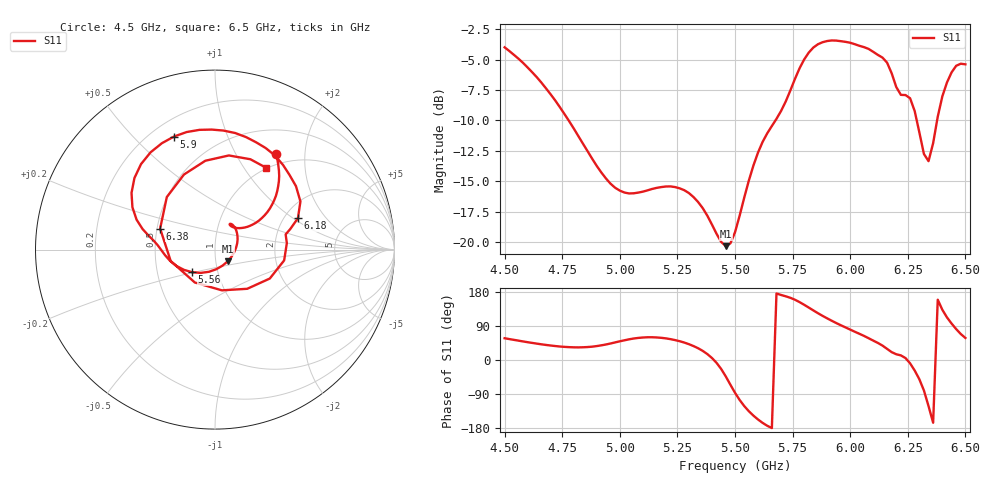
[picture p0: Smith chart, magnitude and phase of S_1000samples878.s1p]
! TOUCHSTONE file generated by CST MICROWAVE STUDIO
! Date and time: Sat Oct 29 16:28:16 2022
! Project name: L.cst
! Parameters = {Di=1.27; Epsilon_r=1.56; InnerDiameter=1.27; Length=2; Lf=10; Lg=60; OuterConductorThickness=0.2921; OuterDiameter=3.6; Wf=3; Wp=41.2; de=1.5; df=6.8; g=0.8; gx=1.37242; gy=2.17841; h=2.34; hf=1.524; px=12.784; py=11.0621; w=9.7; wx=11.4116; wy=8.88374}
! Header version: 2018
! Port assignment regex: !\s*Touchstone port\s*([0-9]+)\s*=\s*(CST MWS port|CST DS port)\s*([0-9]+|Zmin|Zmax)\s*\(\"(.*)\"\)(\s*mode\s*([0-9]+))?.*
! Touchstone port assignment:
! Touchstone port 1 = CST MWS port 1 ("")
# GHz S DB R 50
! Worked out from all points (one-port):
!   101 points, 4.5 GHz to 6.5 GHz, reference 50 ohm
!   lowest |S11| = -20.3 dB at 5.46 GHz (marker M1), VSWR 1.21, Z = 57 - j7.6 ohm
!   |S11| at or under -10 dB: 4.778 GHz to 5.676 GHz (897.8 MHz wide, 17.2 % of centre); 6.289 GHz to 6.377 GHz (88.45 MHz wide, 1.4 % of centre)
!   S11 on the Smith chart (normalised r, x): 4.5 GHz: 0.84, +1.48; 5.56 GHz: 0.75, -0.20; 5.9 GHz: 0.29, +0.66; 6.18 GHz: 2.36, +1.09; 6.38 GHz: 0.52, +0.14; 6.5 GHz: 0.99, +1.27
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4.5  -3.99 57.5
4.62  -6.05 45.1
4.76  -9.49 34.6
5  -15.77 49.3
5.26  -15.59 49.6
5.34  -16.71 31.0
5.46  -20.34 -43.4
5.5  -19.20 -86.4
5.56  -14.95 -135.1
5.62  -11.76 -166.0
5.76  -6.60 159.1
5.82  -4.43 138.4
5.9  -3.48 109.9
6  -3.62 80.2
6.1  -4.37 51.2
6.16  -5.25 29.4
6.18  -6.13 20.7
6.24  -7.92 5.1
6.26  -8.18 -8.9
6.3  -10.97 -50.6
6.32  -12.76 -80.4
6.34  -13.35 -121.6
6.36  -11.87 -165.6
6.38  -9.70 159.0
6.4  -8.02 132.5
6.44  -6.06 96.2
6.46  -5.51 81.6
6.5  -5.39 58.2
